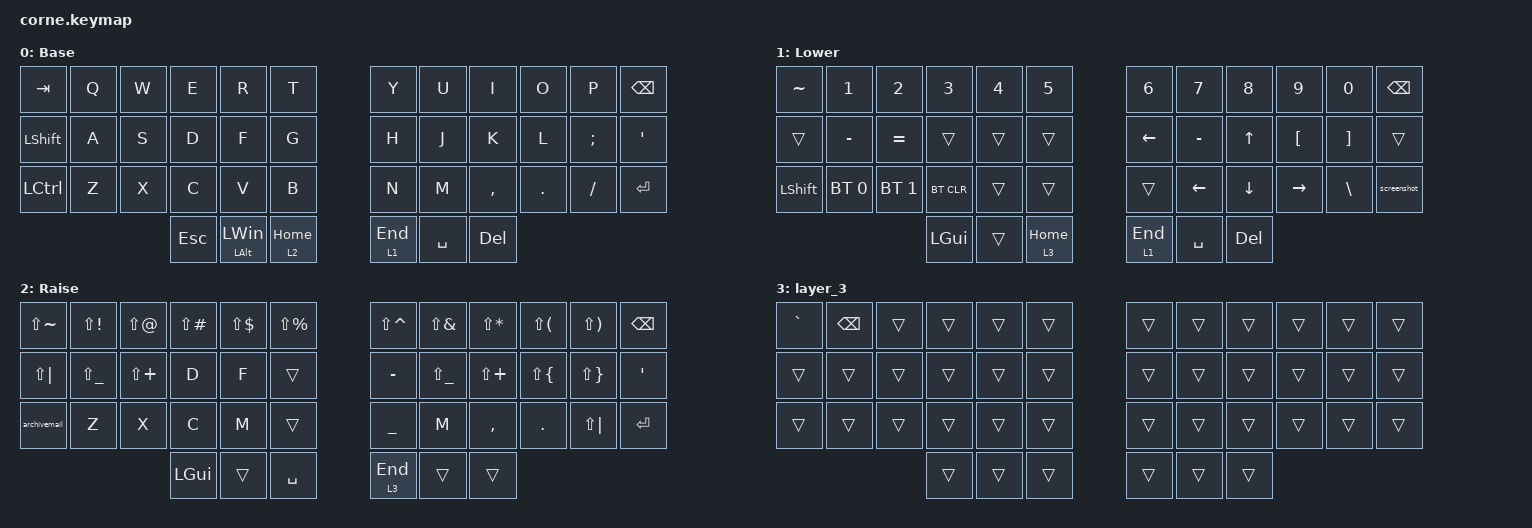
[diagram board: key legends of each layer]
/*
 * Copyright (c) 2020 The ZMK Contributors
 *
 * SPDX-License-Identifier: MIT
 */

#include <behaviors.dtsi>
#include <dt-bindings/zmk/bt.h>
#include <dt-bindings/zmk/keys.h>

&mt { tapping-term-ms = <400>; };

/ {
    macros {
        screenshot: screenshot {
            compatible = "zmk,behavior-macro";
            #binding-cells = <0>;
            bindings = <&kp LS(LC(S))>;
            label = "SCREENSHOT";
        };

        archivemail: archivemail {
            compatible = "zmk,behavior-macro";
            #binding-cells = <0>;
            bindings = <&kp LC(LS(NUMBER_1))>;
            label = "ARCHIVEMAIL";
        };
    };

    keymap {
        compatible = "zmk,keymap";

        default_layer {
            // -----------------------------------------------------------------------------------------
            // |  TAB |  Q  |  W  |  E  |  R  |  T  |   |  Y  |  U   |  I  |  O  |  P  | BKSP |
            // | CTRL |  A  |  S  |  D  |  F  |  G  |   |  H  |  J   |  K  |  L  |  ;  |  '   |
            // | SHFT |  Z  |  X  |  C  |  V  |  B  |   |  N  |  M   |  ,  |  .  |  /  | ESC  |
            //                    | GUI | LWR | SPC |   | ENT | RSE  | ALT |

            label = "Base";
            bindings = <
&kp TAB     &kp Q  &kp W  &kp E       &kp R                  &kp T         &kp Y      &kp U      &kp I       &kp O    &kp P     &kp BSPC
&kp LSHIFT  &kp A  &kp S  &kp D       &kp F                  &kp G         &kp H      &kp J      &kp K       &kp L    &kp SEMI  &kp SQT
&kp LCTRL   &kp Z  &kp X  &kp C       &kp V                  &kp B         &kp N      &kp M      &kp COMMA   &kp DOT  &kp FSLH  &kp ENTER
                          &kp ESCAPE  &mt LEFT_ALT LEFT_WIN  &lt 2 HOME    &lt 1 END  &kp SPACE  &kp DELETE
            >;
        };

        lower_layer {
            // -----------------------------------------------------------------------------------------
            // |  TAB |  1  |  2  |  3  |  4  |  5  |   |  6  |  7  |  8  |  9  |  0  | BKSP |
            // | BTCLR| BT1 | BT2 | BT3 | BT4 | BT5 |   | LFT | DWN |  UP | RGT |     |      |
            // | SHFT |     |     |     |     |     |   |     |     |     |     |     |      |
            //                    | GUI |     | SPC |   | ENT |     | ALT |

            label = "Lower";
            bindings = <
&kp TILDE  &kp N1        &kp N2        &kp N3      &kp N4  &kp N5        &kp N6     &kp N7          &kp N8          &kp N9            &kp N0             &kp BSPC
&trans     &kp MINUS     &kp EQUAL     &trans      &trans  &trans        &kp LEFT   &kp MINUS       &kp UP          &kp LEFT_BRACKET  &kp RIGHT_BRACKET  &trans
&kp LSHFT  &bt BT_SEL 0  &bt BT_SEL 1  &bt BT_CLR  &trans  &trans        &trans     &kp LEFT_ARROW  &kp DOWN_ARROW  &kp RIGHT_ARROW   &kp BACKSLASH      &screenshot
                                       &kp LGUI    &trans  &lt 3 HOME    &lt 1 END  &kp SPACE       &kp DELETE
            >;
        };

        raise_layer {
            // -----------------------------------------------------------------------------------------
            // |  TAB |  !  |  @  |  #  |  $  |  %  |   |  ^  |  &  |  *  |  (  |  )  | BKSP |
            // | CTRL |     |     |     |     |     |   |  -  |  =  |  [  |  ]  |  \  |  `   |
            // | SHFT |     |     |     |     |     |   |  _  |  +  |  {  |  }  | "|" |  ~   |
            //                    | GUI |     | SPC |   | ENT |     | ALT |

            label = "Raise";
            bindings = <
&kp LS(TILDE)  &kp LS(EXCL)   &kp LS(AT)    &kp LS(POUND)  &kp LS(DLLR)  &kp LS(PRCNT)    &kp LS(CARET)  &kp LS(AMPS)   &kp LS(STAR)  &kp LS(LPAR)  &kp LS(RPAR)  &kp BSPC
&kp LS(PIPE)   &kp LS(UNDER)  &kp LS(PLUS)  &kp D          &kp F         &trans           &kp MINUS      &kp LS(UNDER)  &kp LS(PLUS)  &kp LS(LBRC)  &kp LS(RBRC)  &kp SQT
&archivemail   &kp Z          &kp X         &kp C          &kp M         &trans           &kp UNDER      &kp M          &kp COMMA     &kp DOT       &kp LS(PIPE)  &kp RET
                                            &kp LGUI       &trans        &kp SPACE        &lt 3 END      &trans         &trans
            >;
        };

        layer_3 {
            bindings = <
&kp GRAVE  &kp BSPC  &trans  &trans  &trans  &trans    &trans  &trans  &trans  &trans  &trans  &trans
&trans     &trans    &trans  &trans  &trans  &trans    &trans  &trans  &trans  &trans  &trans  &trans
&trans     &trans    &trans  &trans  &trans  &trans    &trans  &trans  &trans  &trans  &trans  &trans
                             &trans  &trans  &trans    &trans  &trans  &trans
            >;
        };
    };
};
